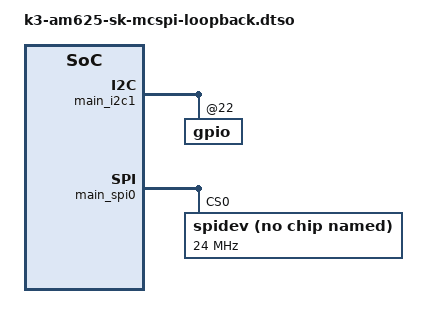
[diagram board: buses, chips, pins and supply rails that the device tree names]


// SPDX-License-Identifier: GPL-2.0
/**
 * DT Overlay for using McSPI on the RPi header on AM625-SK board.
 *
 * Copyright (C) 2022 Texas Instruments Incorporated - https://www.ti.com/
 */

/dts-v1/;
/plugin/;

#include <dt-bindings/gpio/gpio.h>
#include "k3-pinctrl.h"

&main_pmx0 {
	main_spi0_pins_default: main-spi0-pins-default {
		pinctrl-single,pins = <
			AM62X_IOPAD(0x01bc, PIN_INPUT, 0) /* (A14) SPI0_CLK */
			AM62X_IOPAD(0x01c0, PIN_INPUT, 0) /* (B13) SPI0_D0 */
			AM62X_IOPAD(0x01c4, PIN_INPUT, 0) /* (B14) SPI0_D1 */
			AM62X_IOPAD(0x01b4, PIN_INPUT, 0) /* (A13) SPI0_CS0 */
		>;
	};
};

&main_i2c1 {
	gpio@22 {
		en_rpi_3v3 {
			gpio-hog;
			gpios = <5 GPIO_ACTIVE_HIGH>;
			output-high;
			line-name = "EXP_PS_3V3_EN";
		};
	};
};

&main_spi0 {
	status = "okay";
	#address-cells = <1>;
	#size-cells = <0>;
	pinctrl-0 = <&main_spi0_pins_default>;
	pinctrl-names = "default";
	spidev@0 {
		/*
		 * Using spidev compatible is warned loudly,
		 * thus use another equivalent compatible id
		 * from spidev.
		 */
		compatible = "rohm,dh2228fv";
		spi-max-frequency = <24000000>;
		reg = <0>;
	};
};
